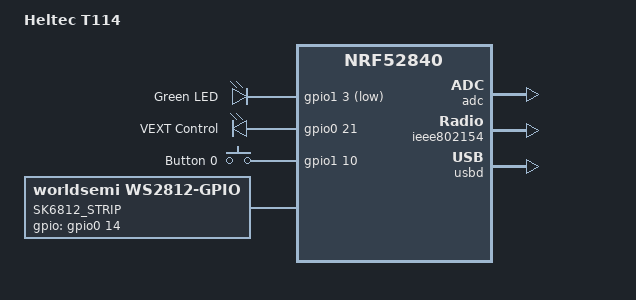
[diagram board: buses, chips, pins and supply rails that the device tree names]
/*
 * Copyright (c) 2024 MASSDRIVER EI (massdriver.space)
 * Copyright (c) 2018-2023 Nordic Semiconductor ASA
 * Copyright (c) 2017 Linaro Limited
 *
 * SPDX-License-Identifier: Apache-2.0
 */

/dts-v1/;
#include <nordic/nrf52840_qiaa.dtsi>
// #include "heltec_t114-pinctrl.dtsi"
#include <zephyr/dt-bindings/input/input-event-codes.h>
#include <zephyr/dt-bindings/led/led.h>

/ {
	model = "Heltec T114";
	compatible = "others,heltec-t114";

	chosen {
		zephyr,sram = &sram0;
		zephyr,flash = &flash0;
		zephyr,ieee802154 = &ieee802154;
	};

	digital_outputs {
		compatible = "gpio-leds";

		led4: led_4 {
			gpios = <&gpio1 3 GPIO_ACTIVE_LOW>;
			label = "Green LED";
		};

		vext_control:vext_control {
			gpios = <&gpio0 21 GPIO_ACTIVE_HIGH>;
			label = "VEXT Control";
		};
	};

	buttons {
		compatible = "gpio-keys";
	
		button0: button_0 {
			gpios = <&gpio1 10 GPIO_ACTIVE_HIGH>;
			label = "Button 0";
			zephyr,code = <INPUT_KEY_0>;
		};
	};

	led_strip:led_strip {
		compatible = "worldsemi,ws2812-gpio";
		label = "SK6812_STRIP";
		gpios = <&gpio0 14 GPIO_ACTIVE_HIGH>;
		chain-length = <2>;
		color-mapping = <LED_COLOR_ID_GREEN
						LED_COLOR_ID_RED
						LED_COLOR_ID_BLUE>;
		status = "okay";
	};

		
	aliases {
		led4 = &led4;
		led-strip = &led_strip;
		button0 = &button0;
		mcuboot-led4 = &led4;
		watchdog0 = &wdt0;
		vext-control = &vext_control;
	};
};

&adc {
	status = "okay";
};

&gpiote {
	status = "okay";
};

&uicr {
	nfct-pins-as-gpios;
	gpio-as-nreset;
};

&gpio0 {
	status = "okay";
};

&gpio1 {
	status = "okay";
};

&led_strip {
	status = "okay";
};

&ieee802154 {
	status = "okay";
};

zephyr_udc0: &usbd {
	status = "okay";
};
#include <../boards/common/usb/cdc_acm_serial.dtsi>
